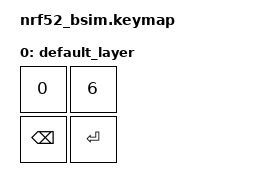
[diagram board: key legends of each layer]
#include <behaviors.dtsi>
#include <dt-bindings/zmk/keys.h>
#include <dt-bindings/zmk/kscan_mock.h>

&kscan {
    events = <
        ZMK_MOCK_PRESS(0, 0, 5000)
        ZMK_MOCK_RELEASE(0, 0, 100)
        ZMK_MOCK_PRESS(0, 1, 100)
        ZMK_MOCK_RELEASE(0, 1, 100)
        ZMK_MOCK_PRESS(1, 1, 100)
        ZMK_MOCK_RELEASE(1, 1, 100)
        ZMK_MOCK_PRESS(0, 0, 100)
        ZMK_MOCK_RELEASE(0, 0, 100)
        ZMK_MOCK_PRESS(0, 0, 100)
        ZMK_MOCK_RELEASE(0, 0, 100)
        ZMK_MOCK_PRESS(1, 0, 100)
        ZMK_MOCK_RELEASE(1, 0, 100)
        ZMK_MOCK_PRESS(0, 1, 100)
        ZMK_MOCK_RELEASE(0, 1, 100)
        ZMK_MOCK_PRESS(0, 0, 100)
        ZMK_MOCK_RELEASE(0, 0, 100)
        ZMK_MOCK_PRESS(0, 1, 100)
        ZMK_MOCK_RELEASE(0, 1, 100)
        ZMK_MOCK_PRESS(1, 1, 100)
        ZMK_MOCK_RELEASE(1, 1, 100)
    >;
};

/ {
    keymap {
        compatible = "zmk,keymap";

        default_layer {
            bindings = <
                &kp N0 &kp N6
                &kp BSPC &kp ENTER
            >;
        };
    };
};
